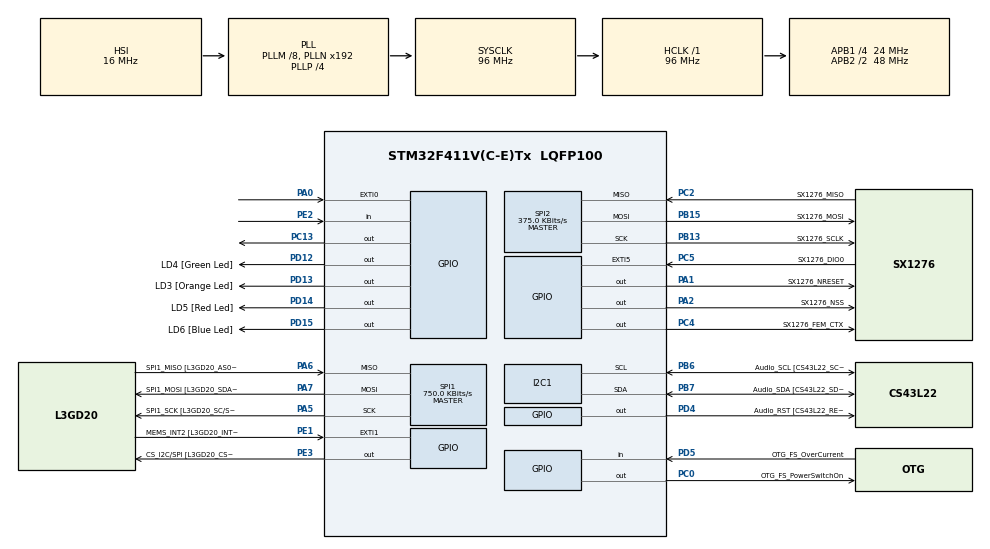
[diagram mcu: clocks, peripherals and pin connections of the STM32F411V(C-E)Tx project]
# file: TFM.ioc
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Mcu.Family=STM32F4
Mcu.Name=STM32F411V(C-E)Tx
Mcu.Package=LQFP100
NVIC.EXTI0_IRQn=true\:1\:0\:true\:false\:true
NVIC.EXTI9_5_IRQn=true\:3\:0\:true\:false\:true
NVIC.PriorityGroup=NVIC_PRIORITYGROUP_2
NVIC.TIM1_UP_TIM10_IRQn=true\:0\:0\:false\:false\:true
PA0-WKUP.Signal=GPXTI0
PA1.GPIO_Label=SX1276_NRESET
PA1.Signal=GPIO_Output
PA10.GPIO_Label=OTG_FS_ID
PA10.Signal=USB_OTG_FS_ID
PA11.GPIO_Label=OTG_FS_DM
PA11.Signal=USB_OTG_FS_DM
PA12.GPIO_Label=OTG_FS_DP
PA12.Signal=USB_OTG_FS_DP
PA13.GPIO_Label=SWDIO
PA13.Signal=SYS_JTMS-SWDIO
PA14.GPIO_Label=SWCLK
PA14.Signal=SYS_JTCK-SWCLK
PA2.GPIO_Label=SX1276_NSS
PA2.Signal=GPIO_Output
PA4.GPIO_Label=I2S3_WS [CS43L22_LRCK]
PA4.GPIO_Mode=GPIO_MODE_AF_PP
PA4.GPIO_PuPd=GPIO_NOPULL
PA4.GPIO_Speed=GPIO_SPEED_FREQ_LOW
PA4.Signal=I2S3_WS
PA5.GPIO_Label=SPI1_SCK [L3GD20_SC/SPC]
PA5.Mode=Full_Duplex_Master
PA5.Signal=SPI1_SCK
PA6.GPIO_Label=SPI1_MISO [L3GD20_AS0/SDO]
PA6.Mode=Full_Duplex_Master
PA6.Signal=SPI1_MISO
PA7.GPIO_Label=SPI1_MOSI [L3GD20_SDA/SDI/SDO]
PA7.Mode=Full_Duplex_Master
PA7.Signal=SPI1_MOSI
PA9.GPIO_Label=VBUS_FS
PA9.Signal=USB_OTG_FS_VBUS
PB10.GPIO_Label=CLK_IN [MP45DT02_CLK]
PB10.Signal=I2S2_CK
PB12.Signal=I2S2_WS
PB13.GPIO_Label=SX1276_SCLK
PB13.Mode=Full_Duplex_Master
PB13.Signal=SPI2_SCK
PB15.GPIO_Label=SX1276_MOSI
PB15.Mode=Full_Duplex_Master
PB15.Signal=SPI2_MOSI
PB3.GPIO_Label=SWO
PB3.Signal=SYS_JTDO-SWO
PB6.GPIO_Label=Audio_SCL [CS43L22_SCL]
PB6.GPIO_Mode=GPIO_MODE_AF_OD
PB6.GPIO_PuPd=GPIO_NOPULL
PB6.GPIO_PuPdOD=GPIO_PULLUP
PB6.GPIO_Speed=GPIO_SPEED_FREQ_LOW
PB6.Mode=I2C
PB6.Signal=I2C1_SCL
PB7.GPIO_Label=Audio_SDA [CS43L22_SDA]
PB7.GPIO_Mode=GPIO_MODE_AF_OD
PB7.GPIO_PuPdOD=GPIO_PULLUP
PB7.GPIO_Speed=GPIO_SPEED_FREQ_LOW
PB7.Mode=I2C
PB7.Signal=I2C1_SDA
PC0.GPIO_Label=OTG_FS_PowerSwitchOn
PC0.Signal=GPIO_Output
PC10.GPIO_Label=I2S3_SCK [CS43L22_SCLK]
PC10.GPIO_Mode=GPIO_MODE_AF_PP
PC10.GPIO_PuPd=GPIO_NOPULL
PC10.GPIO_Speed=GPIO_SPEED_FREQ_LOW
PC10.Signal=I2S3_CK
PC12.GPIO_Label=I2S3_SD [CS43L22_SDIN]
PC12.GPIO_Mode=GPIO_MODE_AF_PP
PC12.GPIO_PuPd=GPIO_NOPULL
PC12.GPIO_Speed=GPIO_SPEED_FREQ_LOW
PC12.Signal=I2S3_SD
PC13-ANTI_TAMP.Signal=GPIO_Output
PC14-OSC32_IN.GPIO_Label=PC14-OSC32_IN
PC14-OSC32_IN.Signal=RCC_OSC32_IN
PC15-OSC32_OUT.GPIO_Label=PC15-OSC32_OUT
PC15-OSC32_OUT.Signal=RCC_OSC32_OUT
PC2.GPIO_Label=SX1276_MISO
PC2.Mode=Full_Duplex_Master
PC2.Signal=SPI2_MISO
PC3.GPIO_Label=PDM_OUT [MP45DT02_DOUT]
PC3.Signal=I2S2_SD
PC4.GPIO_Label=SX1276_FEM_CTX
PC4.Signal=GPIO_Output
PC5.GPIO_Label=SX1276_DIO0
PC5.GPIO_ModeDefaultEXTI=GPIO_MODE_IT_RISING_FALLING
PC5.Signal=GPXTI5
PC7.GPIO_Label=I2S3_MCK [CS43L22_MCLK]
PC7.GPIO_Mode=GPIO_MODE_AF_PP
PC7.GPIO_PuPd=GPIO_NOPULL
PC7.GPIO_Speed=GPIO_SPEED_FREQ_LOW
PC7.Signal=I2S3_MCK
PD12.GPIO_Label=LD4 [Green Led]
PD12.GPIO_PuPd=GPIO_NOPULL
PD12.GPIO_Speed=GPIO_SPEED_FREQ_LOW
PD12.Signal=GPIO_Output
PD13.GPIO_Label=LD3 [Orange Led]
PD13.GPIO_PuPd=GPIO_NOPULL
PD13.GPIO_Speed=GPIO_SPEED_FREQ_LOW
PD13.Signal=GPIO_Output
PD14.GPIO_Label=LD5 [Red Led]
PD14.GPIO_PuPd=GPIO_NOPULL
PD14.GPIO_Speed=GPIO_SPEED_FREQ_LOW
PD14.Signal=GPIO_Output
PD15.GPIO_Label=LD6 [Blue Led]
PD15.GPIO_PuPd=GPIO_NOPULL
PD15.GPIO_Speed=GPIO_SPEED_FREQ_LOW
PD15.Signal=GPIO_Output
PD4.GPIO_Label=Audio_RST [CS43L22_RESET]
PD4.Signal=GPIO_Output
PD5.GPIO_Label=OTG_FS_OverCurrent
PD5.Signal=GPIO_Input
PE1.GPIO_Label=MEMS_INT2 [L3GD20_INT2]
PE1.GPIO_ModeDefaultEXTI=GPIO_MODE_EVT_RISING
PE1.Signal=GPXTI1
PE2.Signal=GPIO_Input
PE3.GPIO_Label=CS_I2C/SPI [L3GD20_CS_I2C/SPI]
PE3.Signal=GPIO_Output
PH0\ -\ OSC_IN.GPIO_Label=PH0-OSC_IN
PH0\ -\ OSC_IN.Signal=RCC_OSC_IN
PH1\ -\ OSC_OUT.GPIO_Label=PH1-OSC_OUT
PH1\ -\ OSC_OUT.Signal=RCC_OSC_OUT
ProjectManager.HeapSize=0x200
ProjectManager.StackSize=0x400
ProjectManager.TargetToolchain=SW4STM32
RCC.48MHZClocksFreq_Value=48000000
RCC.AHBFreq_Value=96000000
RCC.APB1CLKDivider=RCC_HCLK_DIV4
RCC.APB1Freq_Value=24000000
RCC.APB1TimFreq_Value=48000000
RCC.APB2CLKDivider=RCC_HCLK_DIV2
RCC.APB2Freq_Value=48000000
RCC.APB2TimFreq_Value=96000000
RCC.CortexFreq_Value=96000000
RCC.HCLKFreq_Value=96000000
RCC.HSE_VALUE=8000000
RCC.HSI_VALUE=16000000
RCC.LSE_VALUE=32768
RCC.PLLI2SM=5
RCC.PLLI2SN=200
RCC.PLLM=8
RCC.PLLP=RCC_PLLP_DIV4
RCC.PLLQ=8
RCC.SYSCLKFreq_VALUE=96000000
RCC.SYSCLKSource=RCC_SYSCLKSOURCE_PLLCLK
RCC.VCOOutputFreq_Value=384000000
SPI1.BaudRatePrescaler=SPI_BAUDRATEPRESCALER_64
SPI1.CalculateBaudRate=750.0 KBits/s
SPI1.Mode=SPI_MODE_MASTER
SPI2.BaudRatePrescaler=SPI_BAUDRATEPRESCALER_64
SPI2.CalculateBaudRate=375.0 KBits/s
SPI2.Mode=SPI_MODE_MASTER
TIM10.Period=47999
TIM10.Prescaler=9999
VP_TIM10_VS_ClockSourceINT.Mode=Enable_Timer
board=STM32F411E-DISCO

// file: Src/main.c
/**
  ******************************************************************************
  * File Name          : main.c
  * Description        : Main program body
  ******************************************************************************
  *
  * COPYRIGHT(c) 2017 STMicroelectronics
  *
  * Redistribution and use in source and binary forms, with or without modification,
  * are permitted provided that the following conditions are met:
  *   1. Redistributions of source code must retain the above copyright notice,
  *      this list of conditions and the following disclaimer.
  *   2. Redistributions in binary form must reproduce the above copyright notice,
  *      this list of conditions and the following disclaimer in the documentation
  *      and/or other materials provided with the distribution.
  *   3. Neither the name of STMicroelectronics nor the names of its contributors
  *      may be used to endorse or promote products derived from this software
  *      without specific prior written permission.
  *
  * THIS SOFTWARE IS PROVIDED BY THE COPYRIGHT HOLDERS AND CONTRIBUTORS "AS IS"
  * AND ANY EXPRESS OR IMPLIED WARRANTIES, INCLUDING, BUT NOT LIMITED TO, THE
  * IMPLIED WARRANTIES OF MERCHANTABILITY AND FITNESS FOR A PARTICULAR PURPOSE ARE
  * DISCLAIMED. IN NO EVENT SHALL THE COPYRIGHT HOLDER OR CONTRIBUTORS BE LIABLE
  * FOR ANY DIRECT, INDIRECT, INCIDENTAL, SPECIAL, EXEMPLARY, OR CONSEQUENTIAL
  * DAMAGES (INCLUDING, BUT NOT LIMITED TO, PROCUREMENT OF SUBSTITUTE GOODS OR
  * SERVICES; LOSS OF USE, DATA, OR PROFITS; OR BUSINESS INTERRUPTION) HOWEVER
  * CAUSED AND ON ANY THEORY OF LIABILITY, WHETHER IN CONTRACT, STRICT LIABILITY,
  * OR TORT (INCLUDING NEGLIGENCE OR OTHERWISE) ARISING IN ANY WAY OUT OF THE USE
  * OF THIS SOFTWARE, EVEN IF ADVISED OF THE POSSIBILITY OF SUCH DAMAGE.
  *
  ******************************************************************************
  */
#include "stm32f4xx_hal.h"
#include "i2c.h"
#include "spi.h"
#include "tim.h"
#include "gpio.h"

/* USER CODE BEGIN Includes */
#include "sx1276.h"
#include "radio.h"
#include <string.h>
#include <stdio.h>
/* USER CODE END Includes */

/* USER CODE BEGIN PV */
/* Private variables ---------------------------------------------------------*/
#define MAX_TX 3
RadioState_t rStatus;
const uint8_t PingMsg[] = "PING";
const uint8_t PongMsg[] = "PONG";

extern uint16_t BufferSize;					// XXX 4	BufferSize = BUFFER_SIZE = 4;
extern uint8_t Buffer[BUFFER_SIZE];
uint8_t BufferTx[BUFFER_SIZE];
uint16_t RcvMsg;
States_t State;

//#define IS_MASTER 1
#ifdef IS_MASTER
uint8_t isMaster = true;
#else
uint8_t isMaster = false;
#endif

#define PERIODO_TX 1000 // En milisegundos
#define VENTANA_COMPROBACION_RX 1000 // En milisegundos
#define PERIODO_ESCUCHA 5000000 // En microsegundas (us) alcanza este valor?

extern uint8_t txDoneFlag;
extern uint8_t rxDoneFlag;
RadioState_t rStatus;
uint8_t nt = 0;
/* USER CODE END PV */

void SystemClock_Config(void);
void Error_Handler(void);

/* USER CODE BEGIN PFP */
/* Private function prototypes -----------------------------------------------*/
//void HAL_TIM_PeriodElapsedCallback(TIM_HandleTypeDef *htim);
void HAL_GPIO_EXTI_Callback(uint16_t GPIO_Pin);
/* USER CODE END PFP */

/* USER CODE BEGIN 0 */
void adc_read(void);
void temp_read(void);
void leds(void);
void d_out_conversion (uint8_t* dato);
void evaluar(void);
void reposo(void);
void transmitir(void);
void pedir_mediciones(void);
void recibir(void);

static int ambient_temp = 0;
uint8_t temp_tx[2];
static int conversion = 0;
uint8_t conversion_tx[2];
static int temp_max = 250;
static int volt_max = 35;
static uint8_t time_out_flag = 0;
static int enviar_umbral = 0;
/* USER CODE END 0 */

int main(void)
{

  /* MCU Configuration----------------------------------------------------------*/

  /* Reset of all peripherals, Initializes the Flash interface and the Systick. */
  HAL_Init();

  /* Configure the system clock */
  SystemClock_Config();

  /* Initialize all configured peripherals */
  MX_GPIO_Init();
  MX_I2C1_Init();
  MX_SPI1_Init();
  MX_SPI2_Init();
  MX_TIM10_Init();

  /* USER CODE BEGIN 2 */
//  HAL_TIM_Base_Start_IT(&htim10);
  sx1276_init();

  /* USER CODE END 2 */

  /* Infinite loop */
  while (1)
  {

  /* USER CODE BEGIN 3 */

#ifdef IS_MASTER
//	  HAL_Delay(PERIODO_TX);
	  pedir_mediciones();
	  evaluar();
//	  transmitir();
#else

	  recibir();
#endif

  }
  /* USER CODE END 3 */

}

/** System Clock Configuration
*/
void SystemClock_Config(void)
{

  RCC_OscInitTypeDef RCC_OscInitStruct;
  RCC_ClkInitTypeDef RCC_ClkInitStruct;

  __HAL_RCC_PWR_CLK_ENABLE();

  __HAL_PWR_VOLTAGESCALING_CONFIG(PWR_REGULATOR_VOLTAGE_SCALE1);

  RCC_OscInitStruct.OscillatorType = RCC_OSCILLATORTYPE_HSI;
  RCC_OscInitStruct.HSIState = RCC_HSI_ON;
  RCC_OscInitStruct.HSICalibrationValue = 16;
  RCC_OscInitStruct.PLL.PLLState = RCC_PLL_ON;
  RCC_OscInitStruct.PLL.PLLSource = RCC_PLLSOURCE_HSI;
  RCC_OscInitStruct.PLL.PLLM = 8;
  RCC_OscInitStruct.PLL.PLLN = 192;
  RCC_OscInitStruct.PLL.PLLP = RCC_PLLP_DIV4;
  RCC_OscInitStruct.PLL.PLLQ = 8;
  if (HAL_RCC_OscConfig(&RCC_OscInitStruct) != HAL_OK)
  {
    Error_Handler();
  }

  RCC_ClkInitStruct.ClockType = RCC_CLOCKTYPE_HCLK|RCC_CLOCKTYPE_SYSCLK
                              |RCC_CLOCKTYPE_PCLK1|RCC_CLOCKTYPE_PCLK2;
  RCC_ClkInitStruct.SYSCLKSource = RCC_SYSCLKSOURCE_PLLCLK;
  RCC_ClkInitStruct.AHBCLKDivider = RCC_SYSCLK_DIV1;
  RCC_ClkInitStruct.APB1CLKDivider = RCC_HCLK_DIV4;
  RCC_ClkInitStruct.APB2CLKDivider = RCC_HCLK_DIV2;
  if (HAL_RCC_ClockConfig(&RCC_ClkInitStruct, FLASH_LATENCY_3) != HAL_OK)
  {
    Error_Handler();
  }

  HAL_SYSTICK_Config(HAL_RCC_GetHCLKFreq()/1000);

  HAL_SYSTICK_CLKSourceConfig(SYSTICK_CLKSOURCE_HCLK);

  /* SysTick_IRQn interrupt configuration */
  HAL_NVIC_SetPriority(SysTick_IRQn, 0, 0);
}

/* USER CODE BEGIN 4 */
void adc_read (void)  // ADC //
{
	uint8_t d_out[2] = {0};
	// BIT REGISTER OPTIONS:
	uint8_t in1 = 0b00000000; // the bits 3,4 and 5 are add3, add4 and add5
	uint8_t in2 = 0b00101000; // the bits 3,4 and 5 are add3, add4 and add5
	HAL_GPIO_WritePin(GPIOE, CS_I2C_SPI_Pin, GPIO_PIN_SET); 	// to make sure that there is a low edge in CS
	HAL_GPIO_WritePin(GPIOE, CS_I2C_SPI_Pin, GPIO_PIN_RESET); //PE3 // #1 enable CS pin to 0
	HAL_SPI_TransmitReceive(&hspi1, &in1, d_out, 2, 100);
	HAL_GPIO_WritePin(GPIOE, GPIO_PIN_3, GPIO_PIN_SET);			// puts CS to 1 to end the conversion process
	HAL_Delay(50);
	d_out_conversion(d_out);
	//conversion = ((d_out[0] & 0x0F) <<4 ) + ((d_out[1] & 0xF0) >>4);
}

void d_out_conversion (uint8_t* dato)
{

	int data_out = ((dato[0] & 0x0F) <<4 ) + ((dato[1] & 0xF0) >>4) ;
	conversion = (data_out * 0.0117)*10;
	conversion_tx[1] = conversion & 0x00FF;
	conversion_tx[0] = (conversion >> 8) & 0x00FF;
}

void temp_read (void)
{
	uint8_t read_address = 0b10010001; 	// A0-A1-A2 -> "1"
	uint8_t write_address = 0b10010000; // A0-A1-A2 -> "1"
	uint8_t register_pointer[2], temp[2];
	register_pointer[0] = 0b00000000;	// register pointer itself to select the register to write on
	register_pointer[1] = 0b00000001;	// to write in the selected register // FOR T_ambient it is not needed
	temp[0] = 0b00000000;
	temp[1] = 0b11111111;
//activate A0-A1-A2 for slave address ---> X1001111
	HAL_GPIO_WritePin(GPIOE, GPIO_PIN_4, GPIO_PIN_RESET);
	HAL_GPIO_WritePin(GPIOE, GPIO_PIN_5, GPIO_PIN_RESET);
	HAL_GPIO_WritePin(GPIOE, GPIO_PIN_6, GPIO_PIN_RESET);
//	HAL_I2C_Master_Transmit(&hi2c1,write_address, register_pointer, 1, 50 );
	HAL_I2C_Master_Transmit(&hi2c1, write_address, &register_pointer[0], 1, 50 );
	HAL_I2C_Master_Receive(&hi2c1, read_address, temp, 2,150);

// Convert temp
	int tempInt = (temp[0] * 256 + (temp[1] & 0xF0)) / 16;  //  *256 is the same as  shifting <<8
	if(tempInt > 2047)										//  2^11=2048
	{
		tempInt -= 4096;									// if tempInt is >2047 it means that the 12 bit is negative
	}
	float celsius_temp = tempInt * 0.0625;
	ambient_temp = celsius_temp*10;
	temp_tx[1] = ambient_temp & 0x00FF;
	temp_tx[0] = (ambient_temp >> 8) & 0x00FF;

	HAL_Delay(100);
}
void reposo (void)
{
	HAL_GPIO_WritePin(GPIOD, LD5_Pin, GPIO_PIN_SET);
	HAL_GPIO_WritePin(GPIOD, LD5_Pin, GPIO_PIN_RESET);
}
void evaluar (void)
{
	if (ambient_temp > temp_max || conversion > volt_max)
	{
		transmitir();
	}
}
void leds(void)
{
//	HAL_GPIO_WritePin(GPIOD, LD4_Pin, GPIO_PIN_SET);
	HAL_GPIO_WritePin(GPIOD, LD5_Pin, GPIO_PIN_SET);
	HAL_GPIO_WritePin(GPIOD, LD6_Pin, GPIO_PIN_SET);
	HAL_GPIO_WritePin(GPIOD, LD3_Pin, GPIO_PIN_SET);
	HAL_Delay(250);
//	HAL_GPIO_WritePin(GPIOD, LD4_Pin, GPIO_PIN_RESET);
	HAL_GPIO_WritePin(GPIOD, LD5_Pin, GPIO_PIN_RESET);
  	HAL_GPIO_WritePin(GPIOD, LD6_Pin, GPIO_PIN_RESET);
  	HAL_GPIO_WritePin(GPIOD, LD3_Pin, GPIO_PIN_RESET);
  	HAL_Delay(250);
}
//void HAL_TIM_PeriodElapsedCallback(TIM_HandleTypeDef *htim)
//{
//	HAL_GPIO_TogglePin(GPIOD,LD4_Pin);
//	time_out_flag = 0;
//}
void HAL_GPIO_EXTI_Callback(uint16_t GPIO_Pin)
{
	//  Interrupcion del SX1276 RxDone/TxDone
	 if (GPIO_Pin == GPIO_PIN_5)
	 {
		 SX1276OnDio0Irq();
	 }
	 // Interrupcion del boton
	 if (GPIO_Pin == GPIO_PIN_0)
	 {
#ifdef IS_MASTER
		 temp_max = 250;
		 volt_max = 35;
#else
		 if (enviar_umbral == 1)
		 {
			 enviar_umbral = 0;
		 }
		 else if (enviar_umbral == 0)
		 {
			enviar_umbral = 1;
		 }
#endif
	 }
}

void recibir(void)
{
	rStatus = SX1276GetStatus();

	// Nuevos umbrales (Temp 30 C, Volt 3 V)
	BufferTx[0] = 't';
	BufferTx[1] = 0x01;  // MSB de la temperatura (multiplicada por 10)
	BufferTx[2] = 0x5E;	 // LSB de la temperatura (multiplicada por 10)
	BufferTx[3] = 'v';
	BufferTx[4] = 0x00;	// MSB del voltaje medido por el ADC (*10)
	BufferTx[5] = 0x1E;	// LSB del voltaje medido por el ADC (*10)
	if ( rStatus == RF_IDLE )
	{
		if (rxDoneFlag)
		{
			rxDoneFlag = 0;
			// Comprobar que cumple el formato de mensaje "T--V--"
			if ( Buffer[0] == 'T' && Buffer[3] == 'V')
			{
				HAL_GPIO_WritePin(GPIOD, LD6_Pin, SET);
				HAL_Delay(100);
				HAL_GPIO_WritePin(GPIOD, LD6_Pin, RESET);
				// Printf valores
			}
			HAL_Delay(100);
//			SX1276SetRx( 0 );
			if (enviar_umbral == 1)
			{
				Radio.Send( BufferTx, BufferSize );
			}
		}
		else if (txDoneFlag)
		{
			txDoneFlag = 0;
			nt = 0;
			HAL_Delay(100);
//			SX1276SetRx( 0 );
//			SX1276SetRx( RX_TIMEOUT_VALUE );
		}
		else		// inicio del programa
		{
			SX1276SetRx( 0 );
//			Radio.Send( BufferTx, BufferSize );
		}
	}
	else if ( rStatus == RF_TX_RUNNING )
	{
		HAL_GPIO_WritePin(GPIOD, LD5_Pin, SET);
		HAL_Delay(100);
		HAL_GPIO_WritePin(GPIOD, LD5_Pin, RESET);
		nt++;
		if ( nt > MAX_TX )
		{
			nt = 0;
			txDoneFlag=1;
			SX1276SetStby();
		}
	}
	else if ( rStatus == RF_RX_RUNNING )
	{
		HAL_GPIO_WritePin(GPIOD, LD3_Pin, SET);
		HAL_Delay(VENTANA_COMPROBACION_RX);
		SX1276SetStby();
		HAL_GPIO_WritePin(GPIOD, LD3_Pin, RESET);
	}
}

void transmitir(void)
{
	rStatus = SX1276GetStatus();

	BufferTx[0] = 'T';
	BufferTx[1] = temp_tx[0];  // MSB de la temperatura (multiplicada por 10)
	BufferTx[2] = temp_tx[1];	 // LSB de la temperatura (multiplicada por 10)
	BufferTx[3] = 'V';
	BufferTx[4] = conversion_tx[0];	// MSB del voltaje medido por el ADC (*10)
	BufferTx[5] = conversion_tx[1];	// LSB del voltaje medido por el ADC (*10)
	if ( rStatus == RF_IDLE )
	{
		if (rxDoneFlag)
		{
			rxDoneFlag = 0;
//			HAL_GPIO_WritePin(GPIOD, LD6_Pin, SET);
//			HAL_Delay(100);
//			HAL_GPIO_WritePin(GPIOD, LD6_Pin, RESET);
//			HAL_Delay(100);
//			Radio.Send( BufferTx, BufferSize );

			// Comprobar que cumple el formato de mensaje "T--V--"
			if ( Buffer[0] == 't' && Buffer[3] == 'v')
			{
				HAL_GPIO_WritePin(GPIOD, LD6_Pin, SET);
				HAL_Delay(100);
				HAL_GPIO_WritePin(GPIOD, LD6_Pin, RESET);

				int temp_aux = Buffer[1] << 8;
				temp_max = (temp_aux & 0xFF00) + Buffer[2];

				int volt_aux = Buffer[4] << 8;
				volt_max = (volt_aux & 0xFF00) + Buffer[5];
				// Printf valores
			}
		}
		else if (txDoneFlag)
		{
			txDoneFlag = 0;
			nt = 0;
//	   		HAL_Delay(100);
//	   		HAL_GPIO_WritePin(GPIOD, LD4_Pin, SET);
//	   		HAL_Delay(100);
//	   		HAL_GPIO_WritePin(GPIOD, LD4_Pin, RESET);
	   		SX1276SetRx(0);
//	   		SX1276SetRx( RX_TIMEOUT_VALUE );
	   		HAL_Delay(PERIODO_TX);	// XXX-andres Mandar un mensaje cada X segundos
		}
		else	// ni recibo ni envio -> inicio del programa
		{
//	   	HAL_GPIO_WritePin(GPIOD, LD4_Pin, SET);
//		HAL_Delay(100);
//		HAL_GPIO_WritePin(GPIOD, LD4_Pin, RESET);
	   	Radio.Send( BufferTx, BufferSize );
		}
	}
	else if ( rStatus == RF_TX_RUNNING )
	{
		HAL_GPIO_WritePin(GPIOD, LD5_Pin, SET);
		HAL_Delay(100);
		HAL_GPIO_WritePin(GPIOD, LD5_Pin, RESET);
		nt++;
		if ( nt > MAX_TX )
		{
			nt = 0;
			txDoneFlag=1;
			SX1276SetStby();
		}
	}
	else if ( rStatus == RF_RX_RUNNING )
	{
		HAL_GPIO_WritePin(GPIOD, LD3_Pin, SET);
		HAL_Delay(3000);
		SX1276SetStby();
		HAL_GPIO_WritePin(GPIOD, LD3_Pin, RESET);
	}
  }
void pedir_mediciones(void)
{
	adc_read();
	temp_read();
}
/* USER CODE END 4 */

void Error_Handler(void)
{
  while(1)
  {
  }
}

/************************ (C) COPYRIGHT STMicroelectronics *****END OF FILE****/
